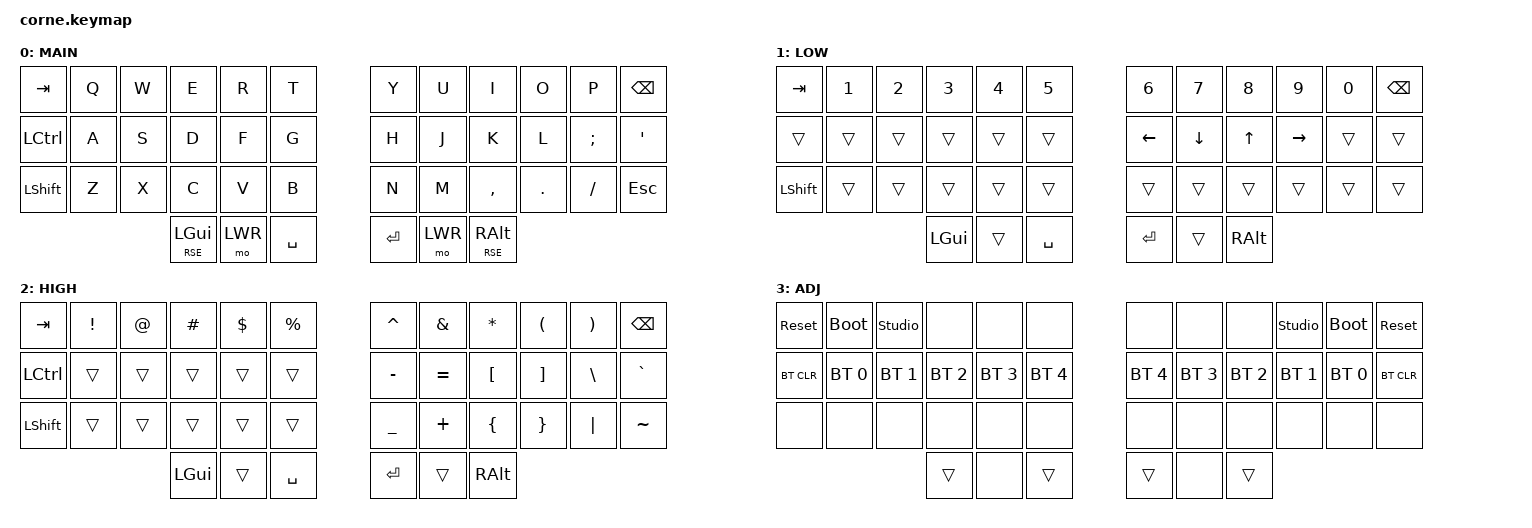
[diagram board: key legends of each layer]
/*
 * Copyright (c) 2020 The ZMK Contributors
 *
 * SPDX-License-Identifier: MIT
 */

#include <behaviors.dtsi>
#include <dt-bindings/zmk/keys.h>
#include <dt-bindings/zmk/bt.h>

#define DEF 0
#define LWR 1
#define RSE 2
#define ADJ 3

/ {
        conditional_layers {
                compatible = "zmk,conditional-layers";
                tri_layer {
                        if-layers = <LWR RSE>;
                        then-layer = <ADJ>;
                };
        };

        keymap {
                compatible = "zmk,keymap";

                default_layer {
                        display-name = "MAIN";
// -----------------------------------------------------------------------------------------
// |  TAB |  Q  |  W  |  E  |  R  |  T  |   |  Y  |  U   |  I  |  O  |  P  | BSPC |
// | CTRL |  A  |  S  |  D  |  F  |  G  |   |  H  |  J   |  K  |  L  |  ;  |  '   |
// | SHFT |  Z  |  X  |  C  |  V  |  B  |   |  N  |  M   |  ,  |  .  |  /  | ESC  |
//                    | RSE | LWR | SPC |   | ENT | LWR  | RSE |
                        bindings = <
   &kp TAB   &kp Q &kp W &kp E &kp R &kp T   &kp Y &kp U  &kp I     &kp O   &kp P    &kp BSPC
   &kp LCTRL &kp A &kp S &kp D &kp F &kp G   &kp H &kp J  &kp K     &kp L   &kp SEMI &kp SQT
   &kp LSHFT &kp Z &kp X &kp C &kp V &kp B   &kp N &kp M  &kp COMMA &kp DOT &kp FSLH &kp ESC
            &lt RSE LGUI &mo LWR &kp SPACE   &kp RET &mo LWR &lt RSE RALT
                        >;
                };

                lower_layer {
                        display-name = "LOW";
// -----------------------------------------------------------------------------------------
// |  TAB |  1  |  2  |  3  |  4  |  5  |   |  6  |  7  |  8  |  9  |  0  | BSPC |
// |      |     |     |     |     |     |   | LFT | DWN |  UP | RGT |     |      |
// | SHFT |     |     |     |     |     |   |     |     |     |     |     |      |
//                    | GUI |     | SPC |   | ENT | ADJ | ALT |
                        bindings = <
   &kp TAB    &kp N1       &kp N2       &kp N3       &kp N4       &kp N5         &kp N6   &kp N7   &kp N8 &kp N9    &kp N0 &kp BSPC
   &trans     &trans       &trans       &trans       &trans       &trans         &kp LEFT &kp DOWN &kp UP &kp RIGHT &trans &trans
   &kp LSHFT  &trans       &trans       &trans       &trans       &trans         &trans   &trans   &trans &trans    &trans &trans
                                    &kp LGUI     &trans       &kp SPACE      &kp RET  &trans   &kp RALT
                        >;
                };

                raise_layer {
                        display-name = "HIGH";
// -----------------------------------------------------------------------------------------
// |  TAB |  !  |  @  |  #  |  $  |  %  |   |  ^  |  &  |  *  |  (  |  )  | BSPC |
// | CTRL |     |     |     |     |     |   |  -  |  =  |  [  |  ]  |  \  |  `   |
// | SHFT |     |     |     |     |     |   |  _  |  +  |  {  |  }  | "|" |  ~   |
//                    | GUI | ADJ | SPC |   | ENT |     | ALT |
                        bindings = <
   &kp  TAB  &kp EXCL &kp AT &kp HASH &kp DLLR &kp PRCNT   &kp CARET &kp AMPS  &kp ASTRK &kp LPAR &kp RPAR &kp BSPC
   &kp LCTRL &trans   &trans &trans   &trans   &trans      &kp MINUS &kp EQUAL &kp LBKT  &kp RBKT &kp BSLH &kp GRAVE
   &kp LSHFT &trans   &trans &trans   &trans   &trans      &kp UNDER &kp PLUS  &kp LBRC  &kp RBRC &kp PIPE &kp TILDE
                             &kp LGUI &trans   &kp SPACE   &kp RET   &trans    &kp RALT
                        >;
                };

                adjust_layer {
                        display-name = "ADJ";
// -----------------------------------------------------------------------------------------
// | RST  | BLDR| STU |     |     |     |   |     |     |     | STU | BLDR| RST  |
// | BTCLR| BT0 | BT1 | BT2 | BT3 | BT4 |   | BT4 | BT3 | BT2 | BT1 | BT0 | BTCLR|
// |      |     |     |     |     |     |   |     |     |     |     |     |      |
//                    |     |     |     |   |     |     |     |
                        bindings = <
   &sys_reset   &bootloader  &studio_unlock &none        &none        &none              &none        &none        &none        &studio_unlock &bootloader   &sys_reset
   &bt BT_CLR   &bt BT_SEL 0 &bt BT_SEL 1   &bt BT_SEL 2 &bt BT_SEL 3 &bt BT_SEL 4       &bt BT_SEL 4 &bt BT_SEL 3 &bt BT_SEL 2 &bt BT_SEL 1   &bt BT_SEL 0  &bt BT_CLR
   &none        &none        &none          &none        &none        &none              &none        &none        &none        &none          &none         &none
                                                               &trans &none &trans       &trans &none &trans
                        >;
                };
        };
};
